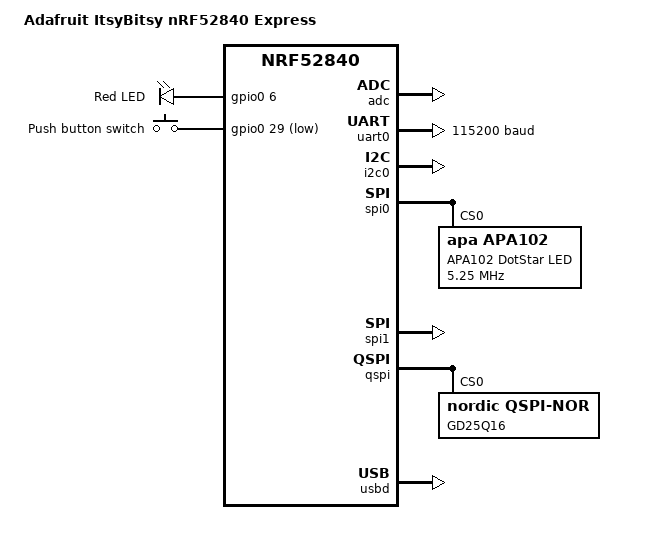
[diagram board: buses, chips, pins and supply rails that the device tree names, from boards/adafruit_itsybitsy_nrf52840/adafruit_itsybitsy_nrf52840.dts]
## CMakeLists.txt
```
#
# Copyright (c) 2021 Nordic Semiconductor ASA
#
# SPDX-License-Identifier: LicenseRef-Nordic-5-Clause
#

cmake_minimum_required(VERSION 3.20.0)

set(BOARD adafruit_itsybitsy_nrf52840)
set(APPLICATION_CONFIG_DIR "configuration/\${BOARD}")
find_package(Zephyr REQUIRED HINTS $ENV{ZEPHYR_BASE})
# find_package(Zephyr)
project(wheelchair_ergometer_game_controller)

# The application uses the configuration/<board> scheme for configuration files.


# NORDIC SDK APP START
target_sources(app PRIVATE 
  src/main.c
  configuration/common/hid_report_desc.c)
# NORDIC SDK APP END


# Include application events and configuration headers
zephyr_library_include_directories(
  src/events
  src/util
  )

zephyr_include_directories(
  configuration/common
  configuration/${BOARD}
  )

# Include source directory
target_include_directories(app PRIVATE src)

# Application directories
add_subdirectory(src/modules)
add_subdirectory(src/events)
add_subdirectory(drivers)
```

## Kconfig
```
#
# Copyright (c) 2021 Nordic Semiconductor ASA
#
# SPDX-License-Identifier: LicenseRef-Nordic-5-Clause
#

# Wheelchair Ergometer Game Controlelr requires the default logging mode as
# LOG_MODE_IMMEDIATE because
# a) LOG_MODE_DEFERRED does not print floating point numbers.
#	 See : https://github.com/zephyrproject-rtos/zephyr/issues/18351
# b) Using LOG2_MODE_DEFERRED results in missing logs in certain situations. Ref: NCSIDB-630
choice LOG_MODE
	default LOG_MODE_IMMEDIATE
endchoice

menu "Wheelchair Ergometer Game Controller"

rsource "src/modules/Kconfig.modules_common"
rsource "src/modules/Kconfig.app_module"
rsource "src/modules/Kconfig.encoder_module"
rsource "src/modules/Kconfig.hid_module"
rsource "src/modules/Kconfig.led_module"

rsource "src/events/Kconfig"

rsource "drivers/Kconfig"

endmenu

menu "Zephyr Kernel"
source "Kconfig.zephyr"
endmenu

module = APPLICATION_MODULE
module-str = Application module
source "subsys/logging/Kconfig.template.log_config"
```

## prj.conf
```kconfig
CONFIG_NCS_SAMPLES_DEFAULTS=y

# General config
CONFIG_NEWLIB_LIBC=y
CONFIG_NEWLIB_LIBC_FLOAT_PRINTF=y
CONFIG_ASSERT=y
CONFIG_REBOOT=y
CONFIG_FPU=y

# Logging
CONFIG_LOG=y
CONFIG_LOG_MODE_DEFERRED=y

CONFIG_BLE_MODULE_LOG_LEVEL_DBG=y

# Heap and stacks
CONFIG_HEAP_MEM_POOL_SIZE=32768
CONFIG_MAIN_STACK_SIZE=1408
CONFIG_SYSTEM_WORKQUEUE_STACK_SIZE=4096
CONFIG_HW_STACK_PROTECTION=y

# Application Event Manager
CONFIG_APP_EVENT_MANAGER=y
CONFIG_APP_EVENT_MANAGER_LOG_EVENT_TYPE=y

# CAF - Common Application Framework
# CONFIG_CAF=y
# CONFIG_CAF_BUTTONS=y
# CONFIG_CAF_BUTTONS_POLARITY_INVERSED=y
# CONFIG_CAF_CLICK_DETECTOR=y

# Bluetooth

# CONFIG_BT=y
# CONFIG_BT_CTLR=y
# CONFIG_BT_CTLR_PRIVACY=y

# CONFIG_BT_DEBUG_LOG=y
# CONFIG_BT_MAX_CONN=2
# CONFIG_BT_MAX_PAIRED=5
# CONFIG_BT_SMP=y
# CONFIG_BT_L2CAP_TX_BUF_COUNT=5
# CONFIG_BT_PERIPHERAL=y
# CONFIG_BT_DEVICE_NAME="Wheelchair Ergometer"
# CONFIG_BT_DEVICE_APPEARANCE=964


# CONFIG_BT_SCAN_WITH_IDENTITY=y
# CONFIG_BT_BAS=y
# CONFIG_BT_HIDS=y
# CONFIG_BT_HIDS_MAX_CLIENT_COUNT=2
# CONFIG_BT_HIDS_DEFAULT_PERM_RW_ENCRYPT=y
# CONFIG_BT_GATT_UUID16_POOL_SIZE=40
# CONFIG_BT_GATT_CHRC_POOL_SIZE=20
# CONFIG_BT_CONN_CTX=y

# CONFIG_BT_DIS=y
# CONFIG_BT_DIS_PNP=y
# CONFIG_BT_DIS_MANUF="NTNU"
# CONFIG_BT_DIS_PNP_VID_SRC=2
# CONFIG_BT_DIS_PNP_VID=0x1915
# CONFIG_BT_DIS_PNP_PID=0xEEEE
# CONFIG_BT_DIS_PNP_VER=0x0100

# CONFIG_MAIN_STACK_SIZE=1536
# CONFIG_SYSTEM_WORKQUEUE_STACK_SIZE=2048

# CONFIG_BT_SETTINGS=y
# CONFIG_FLASH=y
# CONFIG_FLASH_PAGE_LAYOUT=y
# CONFIG_FLASH_MAP=y
# CONFIG_NVS=y
# CONFIG_SETTINGS=y

# CONFIG_DK_LIBRARY=y


# Custom modules
CONFIG_BLE_MODULE=y
```

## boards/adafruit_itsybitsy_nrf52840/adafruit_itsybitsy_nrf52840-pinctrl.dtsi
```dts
/*
 * Copyright (c) 2022 Embla Flatlandsmo
 * SPDX-License-Identifier: Apache-2.0
 */

&pinctrl {
	uart0_default: uart0_default {
		group1 {
			psels = <NRF_PSEL(UART_TX, 0, 24)>,
				<NRF_PSEL(UART_RX, 0, 25)>;
		};
	};

	uart0_sleep: uart0_sleep {
		group1 {
			psels = <NRF_PSEL(UART_TX, 0, 24)>,
				<NRF_PSEL(UART_RX, 0, 25)>;
			low-power-enable;
		};
	};

	i2c0_default: i2c0_default {
		group1 {
			psels = <NRF_PSEL(TWIM_SDA, 0, 16)>,
				<NRF_PSEL(TWIM_SCL, 0, 14)>;
		};
	};

	i2c0_sleep: i2c0_sleep {
		group1 {
			psels = <NRF_PSEL(TWIM_SDA, 0, 16)>,
				<NRF_PSEL(TWIM_SCL, 0, 14)>;
			low-power-enable;
		};
	};

	spi0_default: spi0_default {
		group1 {
			psels = <NRF_PSEL(SPIM_SCK, 1, 9)>,
					<NRF_PSEL(SPIM_MOSI, 0, 8)>;
		};
	};

	spi0_sleep: spi0_sleep {
		group1 {
			psels = <NRF_PSEL(SPIM_SCK, 1, 9)>,
					<NRF_PSEL(SPIM_MOSI, 0, 8)>;
		};
	};

	spi1_default: spi1_default {
		group1 {
			psels = <NRF_PSEL(SPIM_SCK, 0, 13)>,
				<NRF_PSEL(SPIM_MOSI, 0, 15)>,
				<NRF_PSEL(SPIM_MISO, 0, 20)>;
		};
	};

	spi1_sleep: spi1_sleep {
		group1 {
			psels = <NRF_PSEL(SPIM_SCK, 0, 13)>,
				<NRF_PSEL(SPIM_MOSI, 0, 15)>,
				<NRF_PSEL(SPIM_MISO, 0, 20)>;
			low-power-enable;
		};
	};

	qspi_default: qspi_default {
		group1 {
			psels = <NRF_PSEL(QSPI_SCK, 0, 19)>,
				<NRF_PSEL(QSPI_IO0, 0, 21)>,
				<NRF_PSEL(QSPI_IO1, 0, 22)>,
				<NRF_PSEL(QSPI_IO2, 1, 00)>,
				<NRF_PSEL(QSPI_IO3, 0, 17)>,
				<NRF_PSEL(QSPI_CSN, 0, 23)>;
		};
	};

	qspi_sleep: qspi_sleep {
		group1 {
			psels = <NRF_PSEL(QSPI_SCK, 0, 19)>,
				<NRF_PSEL(QSPI_IO0, 0, 21)>,
				<NRF_PSEL(QSPI_IO1, 0, 22)>,
				<NRF_PSEL(QSPI_IO2, 1, 00)>,
				<NRF_PSEL(QSPI_IO3, 0, 17)>,
				<NRF_PSEL(QSPI_CSN, 0, 23)>;
			low-power-enable;
		};
	};

};
```

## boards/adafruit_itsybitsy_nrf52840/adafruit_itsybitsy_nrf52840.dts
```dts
/*
 * Copyright (c) 2022 Embla Flatlandsmo
 *
 * SPDX-License-Identifier: Apache-2.0
 */

/dts-v1/;
/dts-v1/;
#include <nordic/nrf52840_qiaa.dtsi>
#include "adafruit_itsybitsy_nrf52840-pinctrl.dtsi"

/ {
	model = "Adafruit ItsyBitsy nRF52840 Express";
	compatible = "adafruit,itsybitsy-nrf52840-express";

	chosen {
		zephyr,console = &uart0;
		zephyr,shell-uart = &uart0;
		zephyr,uart-mcumgr = &uart0;
		zephyr,bt-mon-uart = &uart0;
		zephyr,bt-c2h-uart = &uart0;
		zephyr,sram = &sram0;
		zephyr,flash = &flash0;
		zephyr,code-partition = &code_partition;
	};

	leds {
		compatible = "gpio-leds";
		led0: led_0 {
			gpios = <&gpio0 6 0>;
			label = "Red LED";
		};
	};

	buttons {
		compatible = "gpio-keys";
		button0: button_0 {
			gpios = <&gpio0 29 (GPIO_PULL_UP | GPIO_ACTIVE_LOW)>;
			label = "Push button switch";
		};
	};

	/* These aliases are provided for compatibility with samples */
	aliases {
		led0 = &led0;
		sw0 = &button0;
	};
};

&adc {
	status = "okay";
};

&gpiote {
	status = "okay";
};

&gpio0 {
	status = "okay";
};

&gpio1 {
	status = "okay";
};

&uart0 {
	compatible = "nordic,nrf-uart";
	current-speed = <115200>;
	status = "okay";
	pinctrl-0 = <&uart0_default>;
	pinctrl-1 = <&uart0_sleep>;
	pinctrl-names = "default", "sleep";
};

&i2c0 {
	compatible = "nordic,nrf-twi";
	status = "okay";
	pinctrl-0 = <&i2c0_default>;
	pinctrl-1 = <&i2c0_sleep>;
	pinctrl-names = "default", "sleep";
};
&spi0 {
	compatible = "nordic,nrf-spi";
	status = "okay";
	pinctrl-0 = <&spi0_default>;
	pinctrl-1 = <&spi0_sleep>;
	pinctrl-names = "default", "sleep";
	apa102: apa102@0 {
		label = "APA102 DotStar LED";
		compatible = "apa,apa102";
		reg=<0>;
		spi-max-frequency = < 5250000 >;
	};
};

&spi1 {
	compatible = "nordic,nrf-spi";
	status = "okay";
	pinctrl-0 = <&spi1_default>;
	pinctrl-1 = <&spi1_sleep>;
	pinctrl-names = "default", "sleep";
};

&qspi {
	status = "okay";
	pinctrl-0 = <&qspi_default>;
	pinctrl-1 = <&qspi_sleep>;
	pinctrl-names = "default", "sleep";
	gd25q16: gd25q16@0 {
		compatible = "nordic,qspi-nor";
		reg = <0>;
		writeoc = "pp4o";
		readoc = "read4io";
		sck-frequency = <16000000>;
		label = "GD25Q16";
		jedec-id = [c8 40 15];
		size = <16777216>;
		has-dpd;
		t-enter-dpd = <20000>;
		t-exit-dpd = <20000>;
		quad-enable-requirements = "S2B1v1";
	};
};

&flash0 {
	partitions {
		compatible = "fixed-partitions";
		#address-cells = <1>;
		#size-cells = <1>;

		/* To enable flashing with UF2 bootloader, we
		must reserve a partition for SoftDevice.
		See https://learn.adafruit.com/introducing-the-adafruit-nrf52840-feather?view=all#hathach-memory-map */
		reserved_partition_0: partition@0 {
			label = "SoftDevice";
			reg = <0x000000000 DT_SIZE_K(152)>;
		};
		code_partition: partition@26000 {
			label = "Application";
			reg = <0x00026000 DT_SIZE_K(796)>;
		};

		/*
		 * The flash starting at 0x000ed000 and ending at
		 * 0x000f4000 is reserved for use by the application.
		 */
		storage_partition: partition@ed000 {
			label = "storage";
			reg = <0x0000ed000 DT_SIZE_K(28)>;
		};

		boot_partition: partition@f4000 {
			label = "UF2";
			reg = <0x000f4000 DT_SIZE_K(48)>;
		};
	};
};

zephyr_udc0: &usbd {
	compatible = "nordic,nrf-usbd";
	status = "okay";
};
```

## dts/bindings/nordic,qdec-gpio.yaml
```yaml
description: |
  GPIO based quadrature decoder.
compatible: "nordic,qdec-gpio"

include:  "base.yaml"

properties:
  label:
    type: string
    description: |
      Human readable name for the device.

  line-a-gpios:
    required: true
    type: phandle-array
    description: |
      Encoder line A

  line-b-gpios:
    required: true
    type: phandle-array
    description: |
      Encoder line B

  ticks-per-rotation:
    required: true
    type: int
    description: |
      Number of ticks per rotation (specified in datasheet)
```

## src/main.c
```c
/*
 * Copyright (c) 2019 Nordic Semiconductor ASA
 *
 * SPDX-License-Identifier: LicenseRef-Nordic-5-Clause
 */

#include <app_event_manager.h>
#include <zephyr/logging/log.h>

#define MODULE main
#include <caf/events/module_state_event.h>

LOG_MODULE_REGISTER(MODULE);

void main(void)
{
	if (app_event_manager_init()) {
		LOG_ERR("Application Event Manager not initialized");
	} else {
		module_set_state(MODULE_STATE_READY);
		// struct config_event *event = new_config_event();

		// event->init_value1 = INIT_VALUE1;
		// APP_EVENT_SUBMIT(event);
	}
}
```
